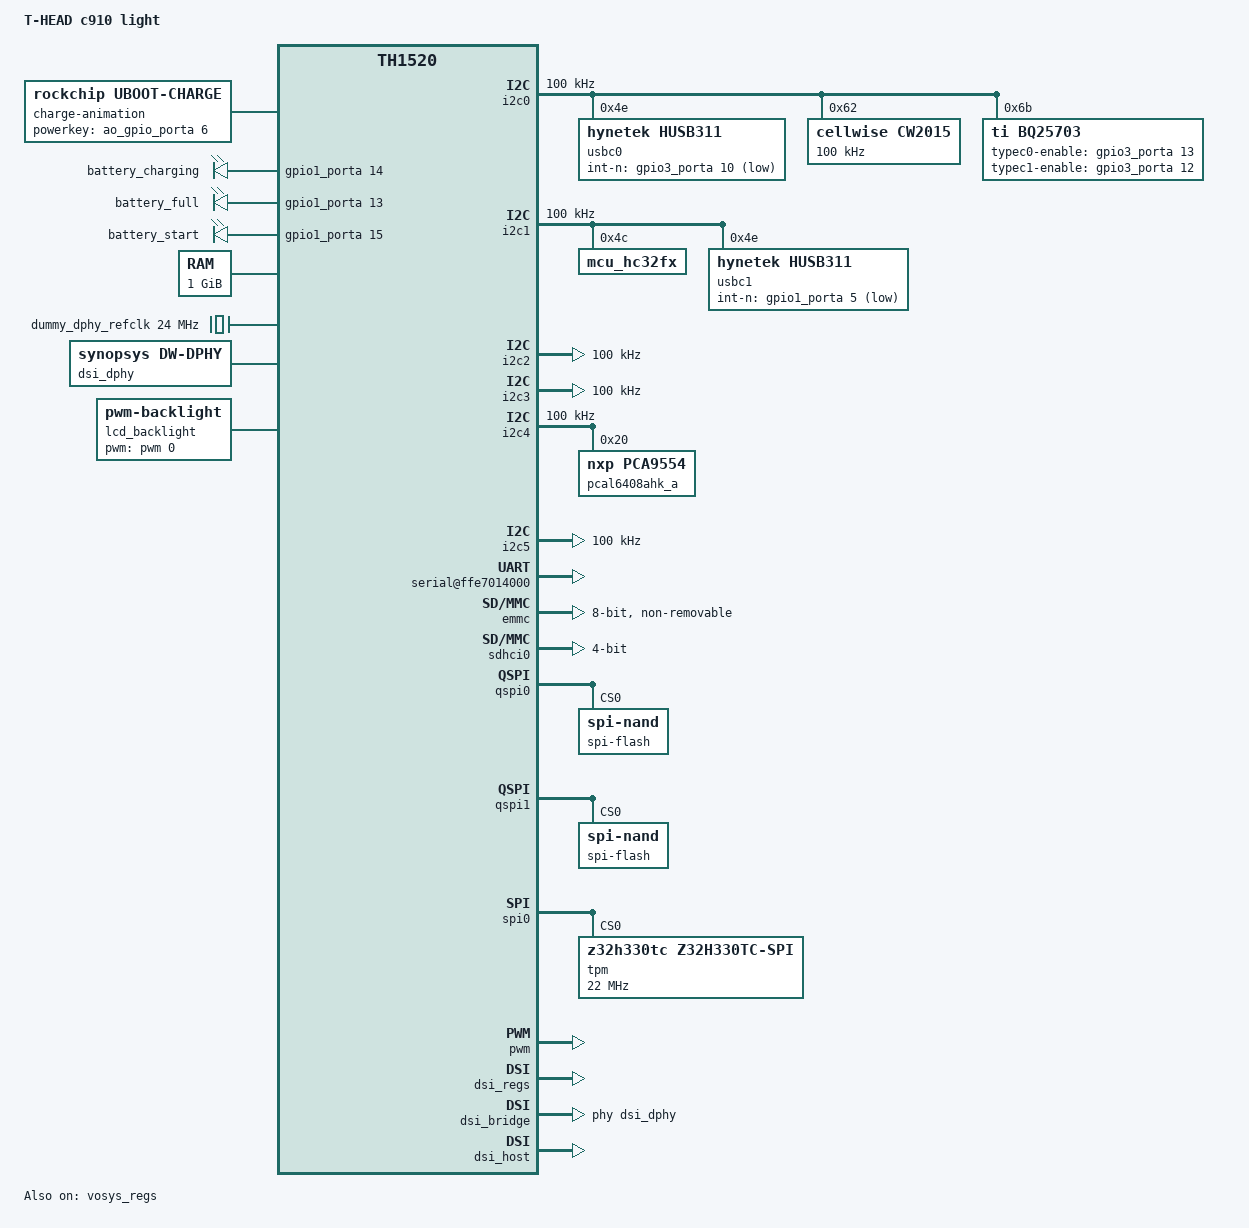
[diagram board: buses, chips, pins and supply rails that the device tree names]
/dts-v1/;
#include <dt-bindings/usb/pd.h>
#include <dt-bindings/pmic/light_pmic.h>

/ {
	model = "T-HEAD c910 light";
	compatible = "thead,c910_light";
	#address-cells = <2>;
	#size-cells = <2>;

	charge-animation {
		compatible = "rockchip,uboot-charge";
		uboot-low-power-voltage = <7300>;
		powerkey-gpio= <&ao_gpio_porta 6 0>;
		status = "okay";
	};

	leds {
		status = "okay";
		compatible = "gpio-leds";
		red-led {
			gpios = <&gpio1_porta 14 0>; // GPIO_ACTIVE_HIGH: 0
			label = "battery_charging";
			default-state = "off";
		};

		green-led {
			gpios = <&gpio1_porta 13 0>; // GPIO_ACTIVE_HIGH: 0
			label = "battery_full";
			default-state = "off";
		};

		blue-led {
			gpios = <&gpio1_porta 15 0>; // GPIO_ACTIVE_HIGH: 0
			label = "battery_start";
			default-state = "off";
		};
	};

	memory@0 {
		device_type = "memory";
		reg = <0x0 0xc0000000 0x0 0x40000000>;
	};

	aliases {
		spi0 = &spi0;
		spi1 = &qspi0;
		spi2 = &qspi1;
	};

	cpus {
		#address-cells = <1>;
		#size-cells = <0>;
		timebase-frequency = <3000000>;
		u-boot,dm-pre-reloc;
		cpu@0 {
			device_type = "cpu";
			reg = <0>;
			status = "okay";
			compatible = "riscv";
			riscv,isa = "rv64imafdcvsu";
			mmu-type = "riscv,sv39";
			u-boot,dm-pre-reloc;
		};
	};

	soc {
		#address-cells = <2>;
		#size-cells = <2>;
		compatible = "simple-bus";
		ranges;
		u-boot,dm-pre-reloc;

		intc: interrupt-controller@ffd8000000 {
			compatible = "riscv,plic0";
			reg = <0xff 0xd8000000 0x0 0x04000000>;
			status = "disabled";
		};

		dummy_apb: apb-clock {
			compatible = "fixed-clock";
			clock-frequency = <62500000>;
			clock-output-names = "dummy_apb";
			#clock-cells = <0>;
			u-boot,dm-pre-reloc;
		};

		dummy_ahb: ahb-clock {
			compatible = "fixed-clock";
			clock-frequency = <250000000>;
			clock-output-names = "core";
			#clock-cells = <0>;
			u-boot,dm-pre-reloc;
		};

		dummy_spi: spi-clock {
			compatible = "fixed-clock";
			clock-frequency = <396000000>;
			clock-output-names = "dummy_spi";
			#clock-cells = <0>;
			u-boot,dm-pre-reloc;
		};

		dummy_qspi0: qspi0-clock {
			compatible = "fixed-clock";
			clock-frequency = <792000000>;
			clock-output-names = "dummy_qspi0";
			#clock-cells = <0>;
			u-boot,dm-pre-reloc;
		};

		dummy_uart_sclk: uart-sclk-clock {
			compatible = "fixed-clock";
			clock-frequency = <100000000>;
			clock-output-names = "dummy_uart_sclk";
			#clock-cells = <0>;
			u-boot,dm-pre-reloc;
		};

		dummy_i2c_icclk: i2c-icclk-clock {
			compatible = "fixed-clock";
			clock-frequency = <50000000>;
			clock-output-names = "dummy_i2c_icclk";
			#clock-cells = <0>;
			u-boot,dm-pre-reloc;
		};

		dummy_dpu_pixclk: dpu-pix-clock {
			compatible = "fixed-clock";
			clock-frequency = <74250000>;
			clock-output-names = "dummy_dpu_pixclk";
			#clock-cells = <0>;
			u-boot,dm-pre-reloc;
		};

		dummy_dphy_refclk: dphy-ref-clock {
			compatible = "fixed-clock";
			clock-frequency = <24000000>;
			clock-output-names = "dummy_dpu_refclk";
			#clock-cells = <0>;
			u-boot,dm-pre-reloc;
		};

		i2c0: i2c@ffe7f20000 {
			compatible = "snps,designware-i2c";
			reg = <0xff 0xe7f20000 0x0 0x4000>;
			clocks = <&dummy_i2c_icclk>;
			clock-frequency = <100000>;

			#address-cells = <1>;
			#size-cells = <0>;

			usbc0: husb311_0@4e {
				compatible = "hynetek,husb311";
				int-n-gpios = <&gpio3_porta 10 1>;
				reg = <0x4e>;
				status = "okay";
		
				usb_con0: connector {
					compatible = "usb-c-connector";
					label = "USB-C";
					data-role = "dual";
					power-role = "dual";
					try-power-role = "sink";
					source-pdos = <PDO_FIXED(5000, 2000, PDO_FIXED_USB_COMM)>;
					sink-pdos =
						<PDO_FIXED(5000, 2000, PDO_FIXED_USB_COMM)
						PDO_FIXED(9000, 3000, PDO_FIXED_USB_COMM)
						PDO_FIXED(12000, 3000, PDO_FIXED_USB_COMM)>;
					op-sink-microwatt = <10000000>;
				};
			};
		
			cw2015@62 {
				clock-frequency = <100000>;
				status = "okay";
				compatible = "cellwise,cw2015";
				reg = <0x62>;
				cellwise,battery-profile = /bits/ 8
					<0x17 0x67 0x66 0x65 0x64 0x63 0x61 0x5E
					0x52 0x6D 0x4D 0x58 0x5B 0x51 0x44 0x3B
					0x33 0x2C 0x26 0x23 0x24 0x29 0x34 0x42
					0x49 0x16 0x0E 0xB8 0x3D 0x5D 0x68 0x7D
					0x78 0x75 0x7B 0x7A 0x3F 0x18 0x82 0x48
					0x09 0x4A 0x1A 0x47 0x86 0x93 0x97 0x15
					0x49 0x71 0x9A 0xC3 0x80 0x41 0x4F 0xCB
					0x2F 0x00 0x64 0xA5 0xB5 0x0D 0xB8 0x91>;
				cellwise,monitor-interval-ms = <5000>;
				cellwise,dual-cell = <1>;
			};

			bq25703: bq25703@6b {
				status = "okay";
				compatible = "ti,bq25703";
				reg = <0x6b>;
				typec0-enable-gpios = <&gpio3_porta 13 0>;  //CHG_PATH_SEL0_180
				typec1-enable-gpios = <&gpio3_porta 12 0>;  //CHG_PATH_SEL1_180		
				ti,charge-current = <2500000>;
				ti,max-input-voltage = <5000000>;
				ti,input-current = <2000000>;
			};
		};

		i2c1: i2c@ffe7f24000{
			compatible = "snps,designware-i2c";
			reg = <0xff 0xe7f24000 0x0 0x4000>;
			clocks = <&dummy_i2c_icclk>;
			clock-frequency = <100000>;

			#address-cells = <1>;
			#size-cells = <0>;

			mcu_hc32fx:mcu-hc32fx@0x4c {
				status = "okay";
				compatible = "mcu_hc32fx";
				reg = <0x4c>;
			};

			usbc1: husb311_1@4e {
				compatible = "hynetek,husb311";
				int-n-gpios = <&gpio1_porta 5 1>;
				reg = <0x4e>;
				status = "okay";

				usb_con1: connector {
					compatible = "usb-c-connector";
					label = "USB-C";
					data-role = "dual";
					power-role = "dual";
					try-power-role = "sink";
					source-pdos = <PDO_FIXED(5000, 2000, PDO_FIXED_USB_COMM)>;
					sink-pdos =
						<PDO_FIXED(5000, 3000, PDO_FIXED_USB_COMM)
						PDO_FIXED(9000, 3000, PDO_FIXED_USB_COMM)
						PDO_FIXED(12000, 3000, PDO_FIXED_USB_COMM)>;
					op-sink-microwatt = <10000000>;
				};
			};
		};

		i2c2: i2c@ffec00c000{
			compatible = "snps,designware-i2c";
			reg = <0xff 0xec00c000 0x0 0x4000>;
			clocks = <&dummy_i2c_icclk>;
			clock-frequency = <100000>;

			#address-cells = <1>;
			#size-cells = <0>;
		};

		i2c3: i2c@ffec014000{
			compatible = "snps,designware-i2c";
			reg = <0xff 0xec014000 0x0 0x4000>;
			clocks = <&dummy_i2c_icclk>;
			clock-frequency = <100000>;

			#address-cells = <1>;
			#size-cells = <0>;
		};

		i2c4: i2c@ffe7f28000{
			compatible = "snps,designware-i2c";
			reg = <0xff 0xe7f28000 0x0 0x4000>;
			clocks = <&dummy_i2c_icclk>;
			clock-frequency = <100000>;

			#address-cells = <1>;
			#size-cells = <0>;

			pcal6408ahk_a: gpio@20 {
				compatible = "nxp,pca9554";
				reg = <0x20>;
				gpio-controller;
				#gpio-cells = <2>;
			};
		};

		i2c5: i2c@fff7f2c000{
			compatible = "snps,designware-i2c";
			reg = <0xff 0xf7f2c000 0x0 0x4000>;
			clocks = <&dummy_i2c_icclk>;
			clock-frequency = <100000>;

			#address-cells = <1>;
			#size-cells = <0>;
		};

		serial@ffe7014000 {
			compatible = "snps,dw-apb-uart";
			reg = <0xff 0xe7014000 0x0 0x400>;
			clocks = <&dummy_uart_sclk>;
			clock-frequency = <100000000>;
			clock-names = "baudclk";
			reg-shift = <2>;
			reg-io-width = <4>;
			u-boot,dm-pre-reloc;
		};

		gmac0: ethernet@ffe7070000 {
			compatible = "snps,dwmac";
			reg = <0xff 0xe7070000 0x0 0x2000>;
			clocks = <&dummy_apb>;
			clock-names = "stmmaceth";
			snps,pbl = <32>;
			snps,fixed-burst;

			phy-mode = "rgmii-id";
			phy-handle = <&phy_88E1111_a>;
			status = "disabled";
			mdio0 {
				#address-cells = <1>;
				#size-cells = <0>;
				compatible = "snps,dwmac-mdio";

				phy_88E1111_a: ethernet-phy@1 {
					reg = <0x1>;
				};

				phy_88E1111_b: ethernet-phy@2 {
					reg = <0x2>;
				};
			};
		};

		gmac1: ethernet@ffe7060000 {
			compatible = "snps,dwmac";
			reg = <0xff 0xe7060000 0x0 0x2000>;
			clocks = <&dummy_apb>;
			clock-names = "stmmaceth";
			snps,pbl = <32>;
			snps,fixed-burst;
			phy-mode = "rgmii-id";
			phy-handle = <&phy_88E1111_b>;
			status = "disabled";
		};

		emmc: sdhci@ffe7080000 {
			compatible = "snps,dwcmshc-sdhci";
			reg = <0xff 0xe7080000 0x0 0x10000>;
			index = <0x0>;
			clocks = <&dummy_ahb>;
			clock-frequency = <198000000>;
			clock-names = "core";
			max-frequency = <198000000>;
			sdhci-caps-mask = <0x0 0x1000000>;
			mmc-hs400-1_8v;
			non-removable;
			no-sdio;
			no-sd;
			bus-width = <8>;
			voltage= "1.8v";
			pull_up;
			io_fixed_1v8;
			fifo-mode;
			u-boot,dm-pre-reloc;
		};

		sdhci0: sd@ffe7090000 {
			compatible = "snps,dwcmshc-sdhci";
			reg = <0xff 0xe7090000 0x0 0x10000>;
			index = <0x1>;
			clocks = <&dummy_ahb>;
			clock-frequency = <198000000>;
			max-frequency = <198000000>;
			sd-uhs-sdr104;
			pull_up;
			clock-names = "core";
			bus-width = <4>;
			voltage= "3.3v";
		};

		qspi0: spi@ffea000000 {
			compatible = "snps,dw-apb-ssi-quad";
			reg = <0xff 0xea000000 0x0 0x1000>;
			clocks = <&dummy_qspi0>;
			num-cs = <1>;
			cs-gpio = <&gpio2_porta 3 0>; // GPIO_ACTIVE_HIGH: 0
			spi-max-frequency = <100000000>;
			#address-cells = <1>;
			#size-cells =<0>;
			spi-flash@0 {
				#address-cells = <1>;
				#size-cells = <1>;
				compatible = "spi-nand";
				spi-tx-bus-width = <4>;
				spi-rx-bus-width = <4>;
				reg = <0>;
			};
		};

		qspi1: spi@fff8000000 {
			compatible = "snps,dw-apb-ssi-quad";
			reg = <0xff 0xf8000000 0x0 0x1000>;
			clocks = <&dummy_spi>;
			num-cs = <1>;
			cs-gpio = <&gpio0_porta 1 0>; // GPIO_ACTIVE_HIGH: 0
			spi-max-frequency = <66000000>;
			#address-cells = <1>;
			#size-cells =<0>;
			spi-flash@0 {
				#address-cells = <1>;
				#size-cells = <1>;
				compatible = "spi-nand";
				spi-tx-bus-width = <4>;
				spi-rx-bus-width = <4>;
				reg = <0>;
			};
		};

		spi0: spi@ffe700c000 {
			compatible = "snps,dw-apb-ssi";
			reg = <0xff 0xe700c000 0x0 0x1000>;
			clocks = <&dummy_spi>;
			cs-gpio = <&gpio2_porta 15 0>;
			spi-max-frequency = <100000000>;
			#address-cells = <1>;
			#size-cells = <0>;
			tpm@0{
				compatible = "z32h330tc,z32h330tc-spi";
				reg = <0>;
				spi-max-frequency = <22000000>;
			};
		};

		gpio2: gpio@ffe7f34000 {
			compatible = "snps,dw-apb-gpio";
			reg = <0xff 0xe7f34000 0x0 0x1000>;
			clocks = <&dummy_apb>;
			#address-cells = <1>;
			#size-cells = <0>;
			gpio2_porta: gpio-controller@0 {
				compatible = "snps,dw-apb-gpio-port";
				gpio-controller;
				#gpio-cells = <2>;
				snps,nr-gpios = <32>;
				reg = <0>;
			};
		};

		gpio3: gpio@ffe7f38000 {
			compatible = "snps,dw-apb-gpio";
			reg = <0xff 0xe7f38000 0x0 0x1000>;
			clocks = <&dummy_apb>;
			#address-cells = <1>;
			#size-cells = <0>;
			gpio3_porta: gpio-controller@0 {
				compatible = "snps,dw-apb-gpio-port";
				gpio-controller;
				#gpio-cells = <2>;
				snps,nr-gpios = <32>;
				reg = <0>;
			};
		};

		gpio0: gpio@ffec005000 {
			compatible = "snps,dw-apb-gpio";
			reg = <0xff 0xec005000 0x0 0x1000>;
			clocks = <&dummy_apb>;
			#address-cells = <1>;
			#size-cells = <0>;
			gpio0_porta: gpio-controller@0 {
				compatible = "snps,dw-apb-gpio-port";
				gpio-controller;
				#gpio-cells = <2>;
				snps,nr-gpios = <32>;
				reg = <0>;
			};
		};

		ao_gpio: gpio@fffff41000 {
			compatible = "snps,dw-apb-gpio";
			reg = <0xff 0xfff41000 0x0 0x1000>;
			#address-cells = <1>;
			#size-cells = <0>;

			ao_gpio_porta: ao_gpio-controller@0 {
				compatible = "snps,dw-apb-gpio-port";
				gpio-controller;
				#gpio-cells = <2>;
				nr-gpios-snps = <32>;
				reg = <0>;

			};
		};

		gpio1: gpio@ffec006000 {
			compatible = "snps,dw-apb-gpio";
			reg = <0xff 0xec006000 0x0 0x1000>;
			clocks = <&dummy_apb>;
			#address-cells = <1>;
			#size-cells = <0>;

			gpio1_porta: gpio-controller@0 {
				compatible = "snps,dw-apb-gpio-port";
				gpio-controller;
				#gpio-cells = <2>;
				snps,nr-gpios = <32>;
				reg = <0>;
			};
		};

		pwm: pwm@ffec01c000 {
			compatible = "thead,pwm-light";
			reg = <0xff 0xec01c000 0x0 0x4000>;
			#pwm-cells = <2>;
		};

		dsi_regs: dsi-controller@ffef500000 {
			compatible = "thead,light-dsi-regs", "syscon";
			reg = <0xff 0xef500000 0x0 0x10000>;
			status = "okay";
		};

		vosys_regs: vosys@ffef528000 {
			compatible = "thead,light-vo-subsys", "syscon";
			reg = <0xff 0xef528000 0x0 0x1000>;
			status = "okay";
		};

		dpu: dc8200@ffef600000 {
			compatible = "verisilicon,dc8200";
			reg = <0xff 0xef600000 0x0 0x100>;
		};

		axiscr {
			compatible = "thead,axiscr";
			reg = <0xff 0xff004000 0x0 0x1000>;
			lock-read = "okay";
			lock-write = "okay";
			#address-cells = <2>;
			#size-cells = <2>;
			u-boot,dm-pre-reloc;
			axiscr0: axisrc@0 {
				device_type = "axiscr";
				region = <0x00 0x00000000 0x00 0x80000000>; // 4KB align
				status = "disabled";
				#address-cells = <2>;
				#size-cells = <2>;
				u-boot,dm-pre-reloc;
			};
			axiscr1: axisrc@1 {
				device_type = "axiscr";
				region = <0x00 0x80000000 0x00 0x80000000>; // 4KB align
				status = "disabled";
				#address-cells = <2>;
				#size-cells = <2>;
				u-boot,dm-pre-reloc;
			};
			axiscr2: axisrc@2 {
				device_type = "axiscr";
				region = <0x01 0x00000000 0x00 0x80000000>; // 4KB align
				status = "disabled";
				#address-cells = <2>;
				#size-cells = <2>;
				u-boot,dm-pre-reloc;
			};
		};

		axiparity {
			compatible = "thead,axiparity";
			reg = <0xff 0xff00c000 0x0 0x1000>;
			lock = "okay";
			#address-cells = <2>;
			#size-cells = <2>;
			u-boot,dm-pre-reloc;
			axiparity0: axiparity@0 {
				device_type = "axiparity";
				region = <0x00 0x00000000 0x01 0x0000000>; // 4KB align
				status = "disabled";
				#address-cells = <2>;
				#size-cells = <2>;
				u-boot,dm-pre-reloc;
			};
			axiparity1: axiparity@1 {
				device_type = "axiparity";
				region = <0x01 0x00000000 0x01 0x00000000>; // 4KB align
				status = "disabled";
				#address-cells = <2>;
				#size-cells = <2>;
				u-boot,dm-pre-reloc;
			};
		};

		dsi_bridge: dsi-bridge {
			compatible = "thead,light-dsi-bridge";
			clocks = <&dummy_dpu_pixclk>;
			clock-names = "pix-clk";
			phys = <&dsi_dphy>;
			phy-names = "dphy";
		};

		dsi_host: dsi-host {
			compatible = "synopsys,dw-mipi-dsi";
			regmap = <&dsi_regs>;
			status = "okay";
		};

		dsi_dphy: dsi-dphy {
			compatible = "synopsys,dw-dphy";
			regmap = <&dsi_regs>;
			vosys-regmap = <&vosys_regs>;
			clocks = <&dummy_dpu_pixclk>, <&dummy_dphy_refclk>;
			clock-names = "pix-clk", "ref-clk";
			#phy-cells = <0>;
			status = "okay";
		};

		lcd_backlight: pwm-backlight {
			compatible = "pwm-backlight";
			pwms = <&pwm 0 5000000>;
			brightness-levels = <0 4 8 16 32 64 128 255>;
			default-brightness-level = <7>;
		};

		ili9881c_panel {
			status = "disabled";
			compatible      = "ilitek,ili9881c";
			backlight       = <&lcd_backlight>;
			reset-gpios     = <&gpio1_porta 5 1>;   /* active low  */
			lcd-en-gpios    = <&pcal6408ahk_a 2 0>; /* active high */
			lcd-bias-en-gpios = <&pcal6408ahk_a 4 0>;/* active high */
		};

		aon {
			compatible = "thead,light-aon";
			status = "okay";

			wakeup-by-gpio-on;
			wakeup-by-rtc-on;

			pd: light-aon-pd {
				compatible = "thead,light-aon-pd";
				#power-domain-cells = <1>;
			};

			light-regu-reg {
				compatible = "thead,light-dialog-pmic";
				status = "okay";

				soc_dvdd18_aon_reg: soc_dvdd18_aon {
					regulator-name = "soc_dvdd18_aon";
					regulator-boot-on;
					regulator-always-on;
				};

				soc_avdd33_usb3_reg: soc_avdd33_usb3 {
					regulator-name = "soc_avdd33_usb3";
					regulator-boot-on;
					regulator-always-on;
				};

				soc_dvdd08_aon_reg: soc_dvdd08_aon {
					regulator-name = "soc_dvdd08_aon";
					regulator-boot-on;
					regulator-always-on;
				};

				soc_apcpu_dvdd_dvddm_reg: soc_apcpu_dvdd_dvddm {
					regulator-name = "soc_apcpu_dvdd_dvddm";
					regulator-min-microvolt = <300000>;
					regulator-max-microvolt = <1570000>;
					regulator-boot-on;
					regulator-always-on;
				};

				soc_dvdd08_ddr_reg: soc_dvdd08_ddr {
					regulator-name = "soc_dvdd08_ddr";
					regulator-boot-on;
					regulator-always-on;
				};

				soc_vdd_ddr_1v8_reg: soc_vdd_ddr_1v8 {
					regulator-name = "soc_vdd_ddr_1v8";
					regulator-boot-on;
					regulator-always-on;
				};

				soc_vdd_ddr_1v1_reg: soc_vdd_ddr_1v1 {
					regulator-name = "soc_vdd_ddr_1v1";
					regulator-boot-on;
					regulator-always-on;
				};

				soc_vdd_ddr_0v6_reg: soc_vdd_ddr_0v6 {
					regulator-name = "soc_vdd_ddr_0v6";
					regulator-boot-on;
					regulator-always-on;
				};

				soc_dvdd18_ap_reg: soc_dvdd18_ap {
					regulator-name = "soc_dvdd18_ap";
					regulator-boot-on;
					regulator-always-on;
				};

				soc_dvdd08_ap_reg: soc_dvdd08_ap {
					regulator-name = "soc_dvdd08_ap";
					regulator-boot-on;
					regulator-always-on;
				};

				soc_avdd08_mipi_hdmi_reg: soc_avdd08_mipi_hdmi {
					regulator-name = "soc_avdd08_mipi_hdmi";
					regulator-boot-on;
					regulator-always-on;
				};

				soc_avdd18_mipi_hdmi_reg: soc_avdd18_mipi_hdmi {
					regulator-name = "soc_avdd18_mipi_hdmi";
					regulator-boot-on;
					regulator-always-on;
				};

				soc_dvdd33_emmc_reg: soc_dvdd33_emmc {
					regulator-name = "soc_dvdd33_emmc";
					regulator-boot-on;
					regulator-always-on;
				};

				soc_dvdd18_emmc_reg: soc_dvdd18_emmc {
					regulator-name = "soc_vdd18_emmc";
					regulator-boot-on;
					regulator-always-on;
				};
				soc_dovdd18_scan_reg: soc_dovdd18_scan {
					regulator-name = "soc_dovdd18_scan";
					regulator-min-microvolt = <900000>;
					regulator-max-microvolt = <3600000>;
				};
				soc_vext_2v8_reg: soc_vext_2v8 {
					regulator-name = "soc_vext_2v8";
					regulator-boot-on;
					regulator-always-on;
				};
				soc_dvdd12_scan_reg: soc_dvdd12_scan {
					regulator-name = "soc_dvdd12_scan";
					regulator-min-microvolt = <900000>;
					regulator-max-microvolt = <3600000>;
				};
				soc_avdd28_scan_en_reg: soc_avdd28_scan_en {
					regulator-name = "soc_avdd28_scan_en";
					regulator-min-microvolt = <2800000>;
					regulator-max-microvolt = <2800000>;
				};
			};

			aon_pmic_config {
				compatible = "thead,light-pmic-conf";
				status = "okay";

				#address-cells = <1>;
				#size-cells = <0>;
				iic-config = <0 0 2>;
				pmic_dev_0: pmic-dev@0 {
					pmic-name = "dialog,da9063,v1";
					pmic-addr = <0x5a 0x5b>;
					pmic_wdt_on;
					status = "okay";
				};

				pmic_dev_1: pmic-dev@1 {
					pmic-name = "dialog,da9121,v1";
					pmic-addr = <0x68>;
					status = "okay";
				};

				regu_config_0 {
					reg_info = <&soc_dvdd18_aon_reg>;
					status = "okay";
					regu_id@0 {
						pmic_dev = <&pmic_dev_0 DA9063_ID_LDO3>;
					};
				};

				regu_config_1 {
					reg_info = <&soc_avdd33_usb3_reg>;
					status = "okay";
					regu_id@0 {
						pmic_dev = <&pmic_dev_0 DA9063_ID_LDO9>;
					};
				};

				regu_config_2 {
					reg_info = <&soc_dvdd08_aon_reg>;
					status = "okay";
					regu_id@0 {
						pmic_dev = <&pmic_dev_0 DA9063_ID_LDO2>;
					};
				};

				regu_config_3 {
					reg_info = <&soc_apcpu_dvdd_dvddm_reg>;
					status = "okay";
					regu_id@0 {
						pmic_dev = <&pmic_dev_0 DA9063_ID_BCORE1>;
						auto_on_info = <0 0 800000>;
					};

					regu_id@1 {
						pmic_dev = <&pmic_dev_0 DA9063_ID_BCORE2>;
						auto_on_info = <1 0 800000>;
					};

					regu_id@2 {
						pmic_dev = <&pmic_dev_0 DA9063_ID_BUCKIO>;
						auto_on_info = <2 0 800000>;
					};

					coupling_info@0 {
						negative-min;
						info = <0 2 5 30>;
					};

					coupling_info@1 {
						negative-min;
						info = <1 2 5 30>;
					};
				};

				regu_config_4 {
					reg_info = <&soc_dvdd08_ddr_reg>;
					status = "okay";
					regu_id@0 {
						pmic_dev = <&pmic_dev_0 DA9063_ID_BUCKPERI>;
					};
				};

				regu_config_5 {
					reg_info = <&soc_vdd_ddr_1v8_reg>;
					status = "okay";
					regu_id@0 {
						pmic_dev = <&pmic_dev_0 DA9063_ID_LDO4>;
					};
				};

				regu_config_6 {
					reg_info = <&soc_vdd_ddr_1v1_reg>;
					status = "okay";
					regu_id@0 {
						pmic_dev = <&pmic_dev_0 DA9063_ID_BUCKMEM>;
					};
				};

				regu_config_7 {
					reg_info = <&soc_vdd_ddr_0v6_reg>;
					status = "okay";
					regu_id@0 {
						pmic_dev = <&pmic_dev_0 DA9063_ID_BUCKPRO>;
					};
				};

				regu_config_8 {
					reg_info = <&soc_dvdd18_ap_reg>;
					status = "okay";
					regu_id@0 {
						pmic_dev = <&pmic_dev_0 DA9063_ID_LDO11>;
					};
				};

				regu_config_9 {
					reg_info = <&soc_dvdd08_ap_reg>;
					status = "okay";
					regu_id@0 {
						pmic_dev = <&pmic_dev_1 DA9121_ID_BUCK1>;
						parent_pmic_dev = <&pmic_dev_0 2 0>;
					};
				};

				regu_config_10 {
					reg_info = <&soc_avdd08_mipi_hdmi_reg>;
					status = "okay";
					regu_id@0 {
						pmic_dev = <&pmic_dev_0 DA9063_ID_LDO1>;
					};
				};

				regu_config_11 {
					reg_info = <&soc_avdd18_mipi_hdmi_reg>;
					status = "okay";
					regu_id@0 {
						pmic_dev = <&pmic_dev_0 DA9063_ID_LDO5>;
					};
				};

				regu_config_12 {
					reg_info = <&soc_dvdd33_emmc_reg>;
					status = "okay";
					regu_id@0 {
						pmic_dev = <&pmic_dev_0 DA9063_ID_LDO10>;
					};
				};

				regu_config_13 {
					reg_info = <&soc_dvdd18_emmc_reg>;
					status = "okay";
					regu_id@0 {
						pmic_dev = <&pmic_dev_0 DA9063_ID_GPIO7>;
						parent_pmic_dev = <&pmic_dev_0 7 0>;
					};
				};

				regu_config_14 {
					reg_info = <&soc_dovdd18_scan_reg>;
					status = "okay";
					regu_id@0 {
						pmic_dev = <&pmic_dev_0 DA9063_ID_LDO6>;
						auto_on_info = <2 1 1800000>;
						auto_off_info = <7 1>;
					};
				};

				regu_config_15 {
					reg_info = <&soc_vext_2v8_reg>;
					status = "okay";
					regu_id@0 {
						pmic_dev = <&pmic_dev_0 DA9063_ID_LDO7>;
						auto_on_info = <3 1 2800000>;
						auto_off_info = <8 1>;
					};
				};

				regu_config_16 {
					reg_info = <&soc_dvdd12_scan_reg>;
					status = "okay";
					regu_id@0 {
						pmic_dev = <&pmic_dev_0 DA9063_ID_LDO8>;
						auto_on_info = <4 1 1200000>;
						auto_off_info = <9 1>;
					};
				};

				regu_config_17 {
					reg_info = <&soc_avdd28_scan_en_reg>;
					status = "okay";
					regu_id@0 {
						pmic_dev = <&pmic_dev_0 DA9063_ID_GPIO4>;
					};
				};
			};
	   	};
	};

	chosen {
		bootargs = "console=ttyS0,115200";
		stdout-path = "/soc/serial@ffe7014000:115200";
	};
};
